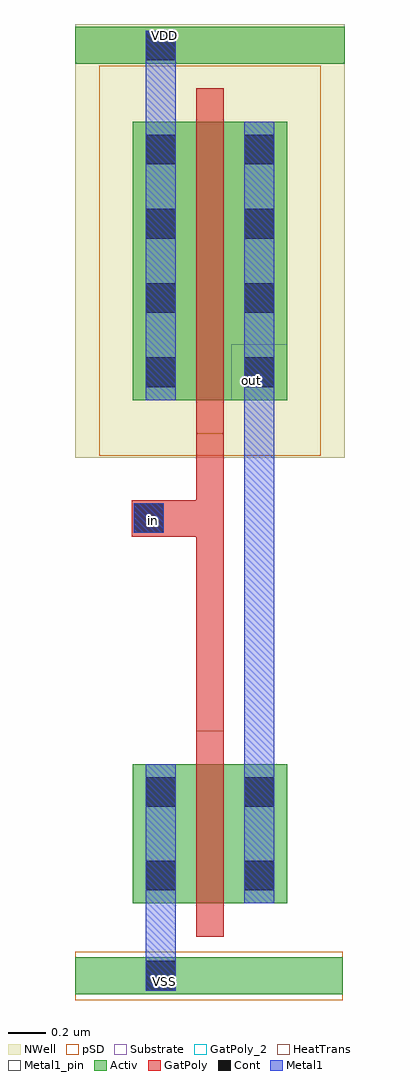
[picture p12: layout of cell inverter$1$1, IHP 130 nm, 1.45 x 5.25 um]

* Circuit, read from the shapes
.subckt inverter$1$1 VDD VSS in out
XM1 out in VSS VSS sg13_lv_nmos w=0.75u l=0.15u
XM2 out in VDD VDD sg13_lv_pmos w=1.5u l=0.15u
.ends

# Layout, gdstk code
import gdstk
lib = gdstk.Library(unit=1e-6, precision=5e-09)
def R(c, l, rs):  # rectangles x0, y0, x1, y1
    for r in rs: c.add(gdstk.rectangle(r[:2], r[2:], *l))
def A(c, l, x, y, w, h, nx, ny, dx, dy):  # array of equal rectangles
    R(c, l, [(x+i*dx, y+j*dy, x+i*dx+w, y+j*dy+h) for i in range(nx) for j in range(ny)])
Activ = (1, 0)
GatPoly = (5, 0)
GatPoly_2 = (5, 2)
Cont = (6, 0)
Metal1 = (8, 0)
Metal1_pin = (8, 2)
pSD = (14, 0)
NWell = (31, 0)
Substrate = (40, 0)
HeatTrans = (51, 0)

nmos_3_1 = lib.new_cell('nmos$3$1')
R(nmos_3_1, Activ, [(0,0,0.3,0.3), (0,0,0.83,0.75), (0.53,0,0.83,0.3)])
R(nmos_3_1, GatPoly, [(0.34,-0.18,0.49,0.93)])
R(nmos_3_1, GatPoly_2, [(0.34,-0.18,0.49,0.93)])
R(nmos_3_1, Cont, [(0.07,0.07,0.23,0.23), (0.6,0.07,0.76,0.23), (0.07,0.52,0.23,0.68), (0.6,0.52,0.76,0.68)])
R(nmos_3_1, Metal1, [(0.07,0,0.23,0.75), (0.6,0,0.76,0.75)])
R(nmos_3_1, Metal1_pin, [(0.07,0,0.23,0.75), (0.6,0,0.76,0.75)])
R(nmos_3_1, HeatTrans, [(0.34,-0.18,0.49,0.93)])
nmos_3_1.add(gdstk.Label('nmos', (0.415,0.375), layer=63, texttype=0))
nmos_3_1.add(gdstk.Label('nmos', (0.415,0.375), layer=51, texttype=0))

pmos_1_2_1 = lib.new_cell('pmos$1$2$1')
R(pmos_1_2_1, Activ, [(0,0,0.3,0.3), (0,0,0.83,1.5), (0.53,0,0.83,0.3)])
R(pmos_1_2_1, GatPoly, [(0.34,-0.18,0.49,1.68), (0.34,-0.18,0.49,1.68)])
A(pmos_1_2_1, Cont, 0.07, 0.07, 0.16, 0.16, 1, 4, 0, 0.4)
A(pmos_1_2_1, Cont, 0.6, 0.07, 0.16, 0.16, 1, 4, 0, 0.4)
R(pmos_1_2_1, Metal1, [(0.07,0,0.23,1.5), (0.07,0,0.23,1.5), (0.6,0,0.76,1.5), (0.6,0,0.76,1.5)])
R(pmos_1_2_1, pSD, [(-0.18,-0.3,1.01,1.8)])
R(pmos_1_2_1, NWell, [(-0.31,-0.31,1.14,1.81)])
R(pmos_1_2_1, Substrate, [(0.53,0,0.83,0.3)])
R(pmos_1_2_1, HeatTrans, [(0.34,-0.18,0.49,1.68)])
pmos_1_2_1.add(gdstk.Label('pmos', (0.415,0.75), layer=63, texttype=0))
pmos_1_2_1.add(gdstk.Label('pmos', (0.415,0.75), layer=51, texttype=0))

inverter_1_1 = lib.new_cell('inverter$1$1')
R(inverter_1_1, Activ, [(-0.74,-2.19,0.7,-1.99), (-0.74,2.82,0.71,3.02)])
R(inverter_1_1, GatPoly, [(-0.09,-0.77,0.06,0.83), (-0.435,0.275,-0.135,0.47), (-0.135,0.275,-0.09,0.47)])
R(inverter_1_1, Cont, [(-0.36,-2.17,-0.2,-2.01), (-0.425,0.295,-0.265,0.455), (-0.36,2.84,-0.2,3)])
R(inverter_1_1, Metal1, [(-0.36,-2.17,-0.2,-2.01), (-0.36,-2.01,-0.2,-1.7), (0.17,-1.175,0.33,1.235), (-0.425,0.295,-0.265,0.455), (-0.36,2.51,-0.2,2.84), (-0.36,2.84,-0.2,3)])
R(inverter_1_1, Metal1_pin, [(-0.36,-2.17,-0.2,-2.01), (-0.425,0.295,-0.265,0.455), (0.17,1.08,0.33,1.24), (-0.36,2.84,-0.2,3)])
R(inverter_1_1, pSD, [(-0.74,-2.22,0.7,-1.96)])
R(inverter_1_1, NWell, [(-0.74,2.82,0.71,3.035)])
inverter_1_1.add(gdstk.Reference(nmos_3_1, (-0.43,-1.7)))
inverter_1_1.add(gdstk.Reference(pmos_1_2_1, (-0.43,1.01)))
inverter_1_1.add(gdstk.Label('out', (0.21,1.115), layer=8, texttype=2))
inverter_1_1.add(gdstk.Label('VSS', (-0.26,-2.12), layer=8, texttype=2))
inverter_1_1.add(gdstk.Label('VDD', (-0.26,2.975), layer=8, texttype=2))
inverter_1_1.add(gdstk.Label('in', (-0.32,0.36), layer=8, texttype=2))

lib.write_gds('inverter_1_1.gds')
